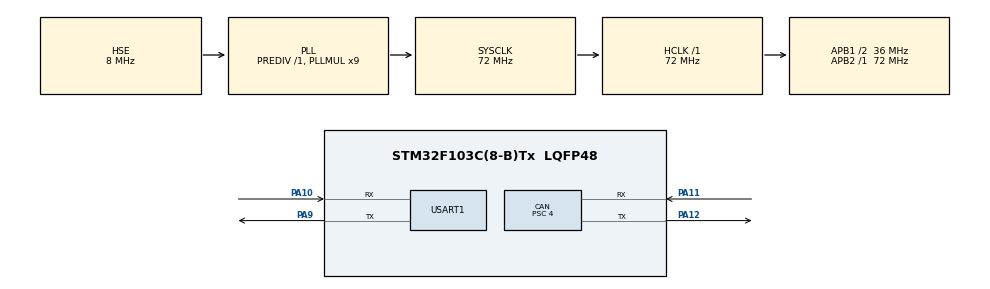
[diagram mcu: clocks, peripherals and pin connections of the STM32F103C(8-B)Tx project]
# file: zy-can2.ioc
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CAN.BS1=CAN_BS1_6TQ
CAN.BS2=CAN_BS2_2TQ
CAN.CalculateBaudRate=1000000
CAN.CalculateTimeBit=1000
CAN.CalculateTimeQuantum=111.11111111111111
CAN.Prescaler=4
Mcu.Family=STM32F1
Mcu.Name=STM32F103C(8-B)Tx
Mcu.Package=LQFP48
NVIC.CAN1_SCE_IRQn=true\:0\:0\:false\:false\:true\:true\:true\:true
NVIC.PriorityGroup=NVIC_PRIORITYGROUP_4
NVIC.TIM2_IRQn=true\:0\:0\:false\:false\:true\:true\:true\:true
NVIC.USART1_IRQn=true\:0\:0\:false\:false\:true\:true\:true\:true
NVIC.USB_LP_CAN1_RX0_IRQn=true\:0\:0\:false\:false\:true\:true\:true\:true
PA10.Mode=Asynchronous
PA10.Signal=USART1_RX
PA11.Mode=CAN_Activate
PA11.Signal=CAN_RX
PA12.Mode=CAN_Activate
PA12.Signal=CAN_TX
PA13.Mode=Serial_Wire
PA13.Signal=SYS_JTMS-SWDIO
PA14.Mode=Serial_Wire
PA14.Signal=SYS_JTCK-SWCLK
PA9.Mode=Asynchronous
PA9.Signal=USART1_TX
PD0-OSC_IN.Mode=HSE-External-Oscillator
PD0-OSC_IN.Signal=RCC_OSC_IN
PD1-OSC_OUT.Mode=HSE-External-Oscillator
PD1-OSC_OUT.Signal=RCC_OSC_OUT
ProjectManager.HeapSize=0x200
ProjectManager.StackSize=0x400
ProjectManager.TargetToolchain=MDK-ARM V5.32
RCC.AHBFreq_Value=72000000
RCC.APB1CLKDivider=RCC_HCLK_DIV2
RCC.APB1Freq_Value=36000000
RCC.APB1TimFreq_Value=72000000
RCC.APB2Freq_Value=72000000
RCC.APB2TimFreq_Value=72000000
RCC.HCLKFreq_Value=72000000
RCC.PLLMUL=RCC_PLL_MUL9
RCC.PLLSourceVirtual=RCC_PLLSOURCE_HSE
RCC.SYSCLKFreq_VALUE=72000000
RCC.SYSCLKSource=RCC_SYSCLKSOURCE_PLLCLK
RCC.USBFreq_Value=72000000
TIM2.Prescaler=71
USART1.VirtualMode=VM_ASYNC
VP_TIM2_VS_ClockSourceINT.Mode=Internal
board=custom

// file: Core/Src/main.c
/* USER CODE BEGIN Header */
/**
  ******************************************************************************
  * @file           : main.c
  * @brief          : Main program body
  ******************************************************************************
  * @attention
  *
  * Copyright (c) 2025 STMicroelectronics.
  * All rights reserved.
  *
  * This software is licensed under terms that can be found in the LICENSE file
  * in the root directory of this software component.
  * If no LICENSE file comes with this software, it is provided AS-IS.
  *
  ******************************************************************************
  */
/* USER CODE END Header */
#include "main.h"
#include "can.h"
#include "tim.h"
#include "usart.h"
#include "gpio.h"

/* USER CODE BEGIN Includes */
#include "pid.h"
#include <stdio.h>
/* USER CODE END Includes */

/* USER CODE BEGIN PV */
char uart_rx_buff[100];
uint8_t uart_rx_index = 0;
void Main_Loop(void);
uint8_t uart_rx_byte;
/* USER CODE END PV */

void SystemClock_Config(void);

int main(void)
{

  /* MCU Configuration--------------------------------------------------------*/

  /* Reset of all peripherals, Initializes the Flash interface and the Systick. */
  HAL_Init();

  /* Configure the system clock */
  SystemClock_Config();

  /* Initialize all configured peripherals */
  MX_GPIO_Init();
  MX_CAN_Init();
  MX_USART1_UART_Init();
  MX_TIM2_Init();
  /* USER CODE BEGIN 2 */
   PID_Init();

   CAN_FilterTypeDef can_filter = {
        .FilterBank = 0,
        .FilterMode = CAN_FILTERMODE_IDMASK,
        .FilterScale = CAN_FILTERSCALE_32BIT,
        .FilterIdHigh = 0x0000,
        .FilterIdLow = 0x0000,
        .FilterMaskIdHigh = 0x0000,
        .FilterMaskIdLow = 0x0000,
        .FilterFIFOAssignment = CAN_RX_FIFO0,
        .FilterActivation = ENABLE,
        .SlaveStartFilterBank = 14
    };
    HAL_CAN_ConfigFilter(&hcan, &can_filter);

    HAL_CAN_Start(&hcan);
    HAL_CAN_ActivateNotification(&hcan, CAN_IT_RX_FIFO0_MSG_PENDING);
    HAL_TIM_Base_Start_IT(&htim2);
    HAL_UART_Receive_IT(&huart1, &uart_rx_byte, 1);

    angle_pid.target_val = motor_fb.angle_deg;
  /* USER CODE END 2 */

  /* Infinite loop */
  /* USER CODE BEGIN WHILE */
  while (1)
  {
        static uint32_t last_control = 0, last_vofa = 0;
        uint32_t now = HAL_GetTick();

        if (now - last_control >= 2) {
            last_control = now;
            speed_pid.target_val = PID_Calculate(&angle_pid, angle_pid.target_val, motor_fb.angle_deg);
            current_to_send = (int16_t)PID_Calculate(&speed_pid, speed_pid.target_val, (float)motor_fb.speed_rpm);
            CAN_Send_Current(current_to_send, 0, 0, 0);
        }

        if (now - last_vofa >= 20) {
            last_vofa = now;
            VOFA_SendData();
        }
        HAL_Delay(1);
    /* USER CODE END WHILE */

  }
}

void SystemClock_Config(void)
{
  RCC_OscInitTypeDef RCC_OscInitStruct = {0};
  RCC_ClkInitTypeDef RCC_ClkInitStruct = {0};

  /** Initializes the RCC Oscillators according to the specified parameters
  * in the RCC_OscInitTypeDef structure.
  */
  RCC_OscInitStruct.OscillatorType = RCC_OSCILLATORTYPE_HSE;
  RCC_OscInitStruct.HSEState = RCC_HSE_ON;
  RCC_OscInitStruct.HSEPredivValue = RCC_HSE_PREDIV_DIV1;
  RCC_OscInitStruct.HSIState = RCC_HSI_ON;
  RCC_OscInitStruct.PLL.PLLState = RCC_PLL_ON;
  RCC_OscInitStruct.PLL.PLLSource = RCC_PLLSOURCE_HSE;
  RCC_OscInitStruct.PLL.PLLMUL = RCC_PLL_MUL9;
  if (HAL_RCC_OscConfig(&RCC_OscInitStruct) != HAL_OK)
  {
    Error_Handler();
  }

  /** Initializes the CPU, AHB and APB buses clocks
  */
  RCC_ClkInitStruct.ClockType = RCC_CLOCKTYPE_HCLK|RCC_CLOCKTYPE_SYSCLK
                              |RCC_CLOCKTYPE_PCLK1|RCC_CLOCKTYPE_PCLK2;
  RCC_ClkInitStruct.SYSCLKSource = RCC_SYSCLKSOURCE_PLLCLK;
  RCC_ClkInitStruct.AHBCLKDivider = RCC_SYSCLK_DIV1;
  RCC_ClkInitStruct.APB1CLKDivider = RCC_HCLK_DIV2;
  RCC_ClkInitStruct.APB2CLKDivider = RCC_HCLK_DIV1;

  if (HAL_RCC_ClockConfig(&RCC_ClkInitStruct, FLASH_LATENCY_2) != HAL_OK)
  {
    Error_Handler();
  }
}

/* USER CODE BEGIN 4 */
void HAL_UART_RxCpltCallback(UART_HandleTypeDef *huart)
{
    if (huart->Instance == USART1) {

        if (uart_rx_byte == '\n') {

            uart_rx_buff[uart_rx_index] = '\0';
            VOFA_ParseCommand(uart_rx_buff);
            uart_rx_index = 0;
            printf("CMD: %s\r\n", uart_rx_buff);
        }
        else if (uart_rx_byte == '\r') {

        }
        else {

            uart_rx_buff[uart_rx_index++] = uart_rx_byte;

            if (uart_rx_index >= sizeof(uart_rx_buff) - 1) {
                uart_rx_index = 0;
                printf("Buffer Overflow!\r\n");
            }
        }

        HAL_UART_Receive_IT(&huart1, &uart_rx_byte, 1);
    }
}

void HAL_CAN_RxFifo0MsgPendingCallback(CAN_HandleTypeDef *hcan) {
    CAN_RxHeaderTypeDef rx_header;
    uint8_t rx_data[8];

    if (HAL_CAN_GetRxMessage(hcan, CAN_RX_FIFO0, &rx_header, rx_data) == HAL_OK) {
        if (rx_header.StdId >= 0x201 && rx_header.StdId <= 0x204) {
            Motor_Feedback_Update(&motor_fb, rx_data);
        }
    }
}
/* USER CODE END 4 */

void Error_Handler(void)
{
  __disable_irq();
  while (1)
  {
  }
}
